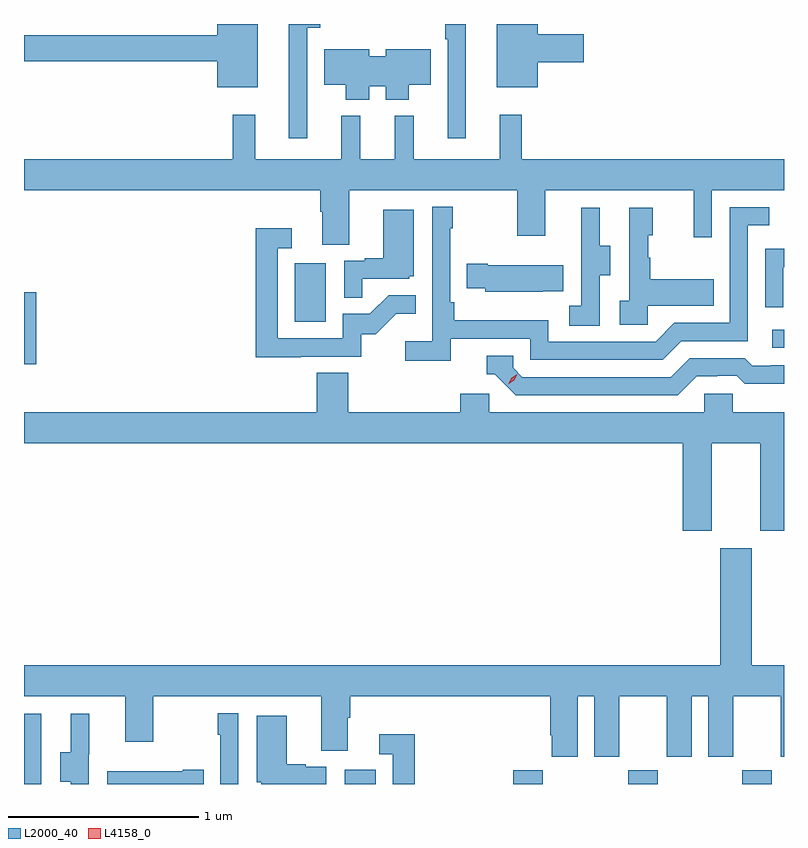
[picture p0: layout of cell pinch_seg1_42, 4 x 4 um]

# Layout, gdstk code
import gdstk
lib = gdstk.Library(unit=1e-6, precision=1e-09)
def R(c, l, rs):  # rectangles x0, y0, x1, y1
    for r in rs: c.add(gdstk.rectangle(r[:2], r[2:], *l))
def P(c, l, *ps):  # polygons
    for p in ps: c.add(gdstk.Polygon(p, *l))
L2000_40 = (2000, 40)
L4158_0 = (4158, 0)

pinch_seg1_42 = lib.new_cell('pinch_seg1_42')
R(pinch_seg1_42, L2000_40, [(1083.864,563.259,1083.954,563.629), (1085.552,563.259,1085.716,563.335), (1086.44,563.259,1086.595,563.332), (1087.045,563.259,1087.2,563.332), (1087.645,563.259,1087.8,563.332), (1083.864,565.467,1083.929,565.848), (1087.803,565.554,1087.864,565.65), (1085.288,565.692,1085.452,565.999)])
P(pinch_seg1_42, L2000_40, [(1085.355,567.239),(1085.424,567.239),(1085.424,567.259),(1085.258,567.259),(1085.258,566.658),(1085.355,566.658)],
  [(1086.19,567.259),(1086.081,567.259),(1086.081,567.179),(1086.093,567.179),(1086.093,566.658),(1086.19,566.658)],
  [(1086.568,567.059),(1086.811,567.059),(1086.811,567.206),(1086.568,567.206),(1086.568,567.259),(1086.353,567.259),(1086.353,566.927),(1086.568,566.927)],
  [(1085.095,567.259),(1084.88,567.259),(1084.88,567.2),(1083.864,567.2),(1083.864,567.064),(1084.88,567.064),(1084.88,566.927),(1085.095,566.927)],
  [(1085.68,566.932),(1085.768,566.932),(1085.768,566.861),(1085.89,566.861),(1085.89,566.939),(1086.004,566.939),(1086.004,567.127),(1085.768,567.127),(1085.768,567.088),(1085.68,567.088),(1085.68,567.127),(1085.444,567.127),(1085.444,566.939),(1085.558,566.939),(1085.558,566.861),(1085.68,566.861)],
  [(1085.575,566.384),(1086.46,566.384),(1086.46,566.145),(1086.607,566.145),(1086.607,566.384),(1087.388,566.384),(1087.388,566.136),(1087.485,566.136),(1087.485,566.384),(1087.864,566.384),(1087.864,566.548),(1086.485,566.548),(1086.485,566.782),(1086.368,566.782),(1086.368,566.548),(1085.915,566.548),(1085.915,566.776),(1085.816,566.776),(1085.816,566.548),(1085.633,566.548),(1085.633,566.776),(1085.534,566.776),(1085.534,566.548),(1085.081,566.548),(1085.081,566.782),(1084.963,566.782),(1084.963,566.548),(1083.864,566.548),(1083.864,566.384),(1085.423,566.384),(1085.423,566.272),(1085.435,566.272),(1085.435,566.098),(1085.575,566.098)],
  [(1086.11,565.602),(1086.528,565.602),(1086.528,565.491),(1087.225,565.491),(1087.324,565.59),(1087.674,565.59),(1087.674,566.199),(1087.787,566.199),(1087.787,566.295),(1087.578,566.295),(1087.578,565.686),(1087.287,565.686),(1087.188,565.587),(1086.624,565.587),(1086.624,565.699),(1086.128,565.699),(1086.128,565.795),(1086.108,565.795),(1086.108,566.183),(1086.121,566.183),(1086.121,566.296),(1086.012,566.296),(1086.012,565.588),(1085.871,565.588),(1085.871,565.486),(1086.11,565.486)],
  [(1086.894,565.936),(1086.949,565.936),(1086.949,566.091),(1086.895,566.091),(1086.895,566.293),(1086.797,566.293),(1086.797,566.079),(1086.798,566.079),(1086.798,565.775),(1086.735,565.775),(1086.735,565.672),(1086.894,565.672)],
  [(1087.146,565.775),(1087.493,565.775),(1087.493,565.915),(1087.159,565.915),(1087.159,566.03),(1087.149,566.03),(1087.149,566.148),(1087.174,566.148),(1087.174,566.293),(1087.05,566.293),(1087.05,565.802),(1086.999,565.802),(1086.999,565.677),(1087.146,565.677)],
  [(1085.645,565.917),(1085.892,565.917),(1085.892,565.932),(1085.914,565.932),(1085.914,566.281),(1085.756,566.281),(1085.756,566.026),(1085.657,566.026),(1085.657,566.013),(1085.55,566.013),(1085.55,565.819),(1085.645,565.819)],
  [(1085.321,565.509),(1085.64,565.509),(1085.64,565.626),(1085.716,565.626),(1085.823,565.733),(1085.927,565.733),(1085.927,565.832),(1085.783,565.832),(1085.685,565.734),(1085.541,565.734),(1085.541,565.605),(1085.199,565.605),(1085.199,566.079),(1085.272,566.079),(1085.272,566.185),(1085.083,566.185),(1085.083,565.504),(1085.321,565.504)],
  [(1087.86,565.979),(1087.864,565.979),(1087.864,566.076),(1087.764,566.076),(1087.764,565.767),(1087.86,565.767)],
  [(1086.593,565.853),(1086.701,565.853),(1086.701,565.99),(1086.304,565.99),(1086.304,565.998),(1086.193,565.998),(1086.193,565.868),(1086.291,565.868),(1086.291,565.85),(1086.593,565.85)],
  [(1087.405,565.404),(1087.512,565.404),(1087.512,565.407),(1087.615,565.407),(1087.657,565.365),(1087.864,565.365),(1087.864,565.464),(1087.795,565.464),(1087.795,565.461),(1087.696,565.461),(1087.657,565.5),(1087.368,565.5),(1087.269,565.401),(1086.486,565.401),(1086.438,565.449),(1086.438,565.512),(1086.299,565.512),(1086.299,565.416),(1086.342,565.416),(1086.453,565.305),(1087.306,565.305)],
  [(1087.483,565.052),(1087.739,565.052),(1087.739,564.591),(1087.864,564.591),(1087.864,565.216),(1087.593,565.216),(1087.593,565.314),(1087.443,565.314),(1087.443,565.216),(1086.312,565.216),(1086.312,565.314),(1086.161,565.314),(1086.161,565.216),(1085.57,565.216),(1085.57,565.424),(1085.405,565.424),(1085.405,565.216),(1083.864,565.216),(1083.864,565.052),(1087.331,565.052),(1087.331,564.591),(1087.483,564.591)],
  [(1087.693,564.499),(1087.529,564.499),(1087.529,563.884),(1083.864,563.884),(1083.864,563.72),(1084.397,563.72),(1084.397,563.481),(1084.545,563.481),(1084.545,563.72),(1085.429,563.72),(1085.429,563.434),(1085.569,563.434),(1085.569,563.608),(1085.582,563.608),(1085.582,563.72),(1086.635,563.72),(1086.635,563.515),(1086.641,563.515),(1086.641,563.403),(1086.778,563.403),(1086.778,563.72),(1086.866,563.72),(1086.866,563.403),(1086.997,563.403),(1086.997,563.72),(1087.247,563.72),(1087.247,563.403),(1087.378,563.403),(1087.378,563.72),(1087.466,563.72),(1087.466,563.403),(1087.597,563.403),(1087.597,563.72),(1087.847,563.72),(1087.847,563.403),(1087.864,563.403),(1087.864,563.884),(1087.693,563.884)],
  [(1084.992,563.632),(1084.884,563.632),(1084.884,563.519),(1084.896,563.519),(1084.896,563.259),(1084.992,563.259)],
  [(1084.206,563.415),(1084.208,563.415),(1084.208,563.629),(1084.109,563.629),(1084.109,563.427),(1084.055,563.427),(1084.055,563.272),(1084.11,563.272),(1084.11,563.259),(1084.206,563.259)],
  [(1085.454,563.349),(1085.348,563.349),(1085.348,563.362),(1085.248,563.362),(1085.248,563.617),(1085.09,563.617),(1085.09,563.268),(1085.112,563.268),(1085.112,563.259),(1085.454,563.259)],
  [(1085.921,563.521),(1085.733,563.521),(1085.733,563.415),(1085.805,563.415),(1085.805,563.259),(1085.921,563.259)],
  [(1084.811,563.334),(1084.7,563.334),(1084.7,563.326),(1084.303,563.326),(1084.303,563.259),(1084.811,563.259)])
P(pinch_seg1_42, L4158_0, [(1086.413,565.363),(1086.413,565.363),(1086.43,565.396),(1086.461,565.416),(1086.461,565.416),(1086.461,565.416),(1086.445,565.383),(1086.413,565.363)])

lib.write_gds('pinch_seg1_42.gds')
